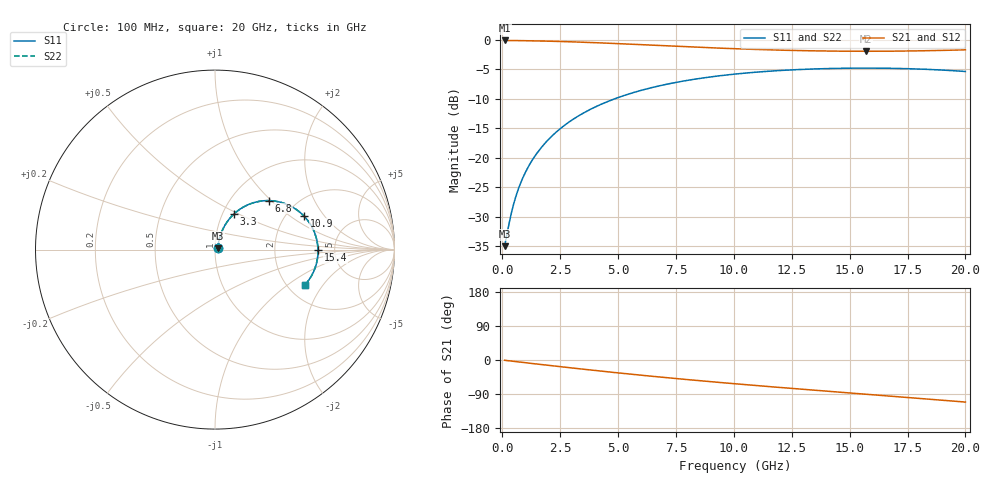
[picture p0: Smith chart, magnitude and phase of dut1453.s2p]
! Touchstone file exported from HFSS 2026.1.0
!  File:  C:/ffzhzh/LocalFiles/Ansys_Project_Files/temp_train_TSV_RDL_1453_1783359157_46376.aedt
!  Generated:  01:41:14 AM Jul  7, 2026
!  Design:  TSV_RDL
!  Project:  temp_train_TSV_RDL_1453_1783359157_46376
! Variables:
!  h_bsmrdl = 2.71um
!  h_ox = 20um
!  h_rdl = 5um
!  h_sub = 65.94um
!  h_tmrdl = 2.55um
!  h_tsv = 65.94um
!  h_via = 3um
!  l_bsmrdl = 316.56um
!  l_sub = 1893.5um
!  l_tmrdl = 109.93um
!  m_sub = 200um
!  pitch = 44.74um
!  r_tsv = 7.78um
!  s_tmrdl = 10um
!  w_bsmrdl = 10.51um
!  w_sub = 500um
!  w_tmrdl = 24.19um
!  x_tsv_center1 = 122.025um
!  x_tsv_center2 = 449.095um
!  x_tsv_center3 = 583.215um
!  x_tsv_center4 = 910.285um
!  x_tsv_center5 = 1044.405um
!  x_tsv_center6 = 1371.475um
# GHz S MA R 50.000000
! Terminal data exported
! Port[1] = TM_RDL1_1_T1
! Port[2] = TM_RDL5_1_T1
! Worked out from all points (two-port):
!   200 points, 100 MHz to 20 GHz, reference 50 ohm
!   highest |S21| = -0.14 dB at 100 MHz (marker M1); lowest = -2.0 dB at 15.7 GHz (marker M2)
!   |S21| within 3 dB of the highest: start of sweep to end of sweep
!   lowest |S11| = -35.0 dB at 100 MHz (marker M3), VSWR 1.04, Z = 51.6 + j0.771 ohm
!   |S11| at or under -10 dB: start of sweep to 4.865 GHz
!   |S22| runs from -35.0 to -4.8 dB; largest |S21 - S12| = 3.5e-13
!   S11 on the Smith chart (normalised r, x): 100 MHz: 1.03, +0.02; 3.3 GHz: 1.13, +0.48; 6.8 GHz: 1.49, +0.97; 10.9 GHz: 2.48, +1.29; 15.4 GHz: 3.69, -0.03; 20 GHz: 2.45, -1.37
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0.1  0.01788 24.7  0.9838 -0.7  0.9838 -0.7  0.01788 24.7
! Gamma 0 0 0 0
! Port Impedance 50 0 50 0
0.4  0.03462 57.8  0.9826 -2.9  0.9826 -2.9  0.03462 57.8
0.6  0.04805 64.3  0.9815 -4.4  0.9815 -4.4  0.04805 64.3
0.9  0.06856 68.1  0.9796 -6.5  0.9796 -6.5  0.06856 68.1
1.2  0.08912 69.3  0.9775 -8.6  0.9775 -8.6  0.08912 69.3
1.6  0.1164 69.1  0.9741 -11.4  0.9741 -11.4  0.1164 69.1
2.1  0.15 67.6  0.9691 -14.8  0.9691 -14.8  0.15 67.6
2.7  0.1891 64.9  0.9618 -18.9  0.9618 -18.9  0.1891 64.9
3.3  0.2268 61.8  0.9534 -23.0  0.9534 -23.0  0.2268 61.8
3.5  0.239 60.7  0.9504 -24.3  0.9504 -24.3  0.239 60.7
4.2  0.2799 56.8  0.939 -28.9  0.939 -28.9  0.2799 56.8
5  0.3233 52.2  0.925 -34.0  0.925 -34.0  0.3233 52.2
6.8  0.4071 42.1  0.8916 -44.9  0.8916 -44.9  0.4071 42.1
8.4  0.4655 33.4  0.863 -53.9  0.863 -53.9  0.4655 33.5
10.1  0.5122 24.7  0.8368 -63.0  0.8368 -63.0  0.5122 24.7
10.9  0.5292 20.8  0.8265 -67.1  0.8265 -67.1  0.5292 20.8
13.4  0.5641 8.9  0.8038 -79.3  0.8038 -79.3  0.5641 8.9
15.4  0.5739 -0.3  0.7971 -88.8  0.7971 -88.8  0.5739 -0.3
15.7  0.5741 -1.6  0.7969 -90.2  0.7969 -90.2  0.574 -1.6
16.7  0.5721 -6.2  0.7982 -95.0  0.7982 -95.0  0.5721 -6.2
18.3  0.5608 -13.6  0.8054 -102.7  0.8054 -102.7  0.5608 -13.6
20  0.5373 -21.7  0.8198 -111.1  0.8198 -111.1  0.5373 -21.6
